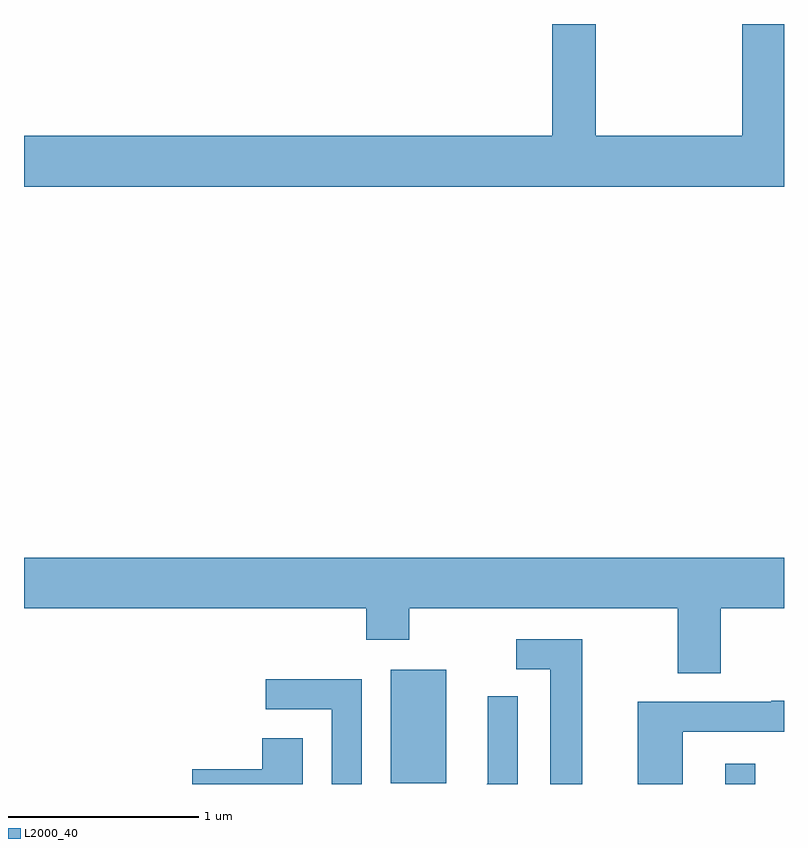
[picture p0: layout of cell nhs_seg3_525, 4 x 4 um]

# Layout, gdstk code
import gdstk
lib = gdstk.Library(unit=1e-6, precision=1e-09)
def R(c, l, rs):  # rectangles x0, y0, x1, y1
    for r in rs: c.add(gdstk.rectangle(r[:2], r[2:], *l))
def P(c, l, *ps):  # polygons
    for p in ps: c.add(gdstk.Polygon(p, *l))
L2000_40 = (2000, 40)

nhs_seg3_525 = lib.new_cell('nhs_seg3_525')
R(nhs_seg3_525, L2000_40, [(203.301,1213.892,203.459,1213.998), (201.541,1213.896,201.834,1214.494)])
P(nhs_seg3_525, L2000_40, [(203.611,1217.892),(203.391,1217.892),(203.391,1217.304),(202.619,1217.304),(202.619,1217.892),(202.391,1217.892),(202.391,1217.304),(199.611,1217.304),(199.611,1217.036),(203.611,1217.036)],
  [(203.279,1214.816),(203.611,1214.816),(203.611,1215.084),(199.611,1215.084),(199.611,1214.816),(201.411,1214.816),(201.411,1214.651),(201.639,1214.651),(201.639,1214.816),(203.051,1214.816),(203.051,1214.476),(203.279,1214.476)],
  [(202.549,1214.654),(202.203,1214.654),(202.203,1214.496),(202.381,1214.496),(202.381,1213.892),(202.549,1213.892)],
  [(201.389,1214.444),(200.883,1214.444),(200.883,1214.286),(201.231,1214.286),(201.231,1213.892),(201.389,1213.892)],
  [(202.209,1214.353),(202.051,1214.353),(202.051,1213.897),(202.046,1213.892),(202.209,1213.892)],
  [(203.079,1214.166),(203.611,1214.166),(203.611,1214.329),(203.545,1214.329),(203.545,1214.324),(202.841,1214.324),(202.841,1213.892),(203.079,1213.892)],
  [(201.079,1214.134),(200.866,1214.134),(200.866,1213.969),(200.496,1213.969),(200.496,1213.892),(201.079,1213.892)])

lib.write_gds('nhs_seg3_525.gds')
